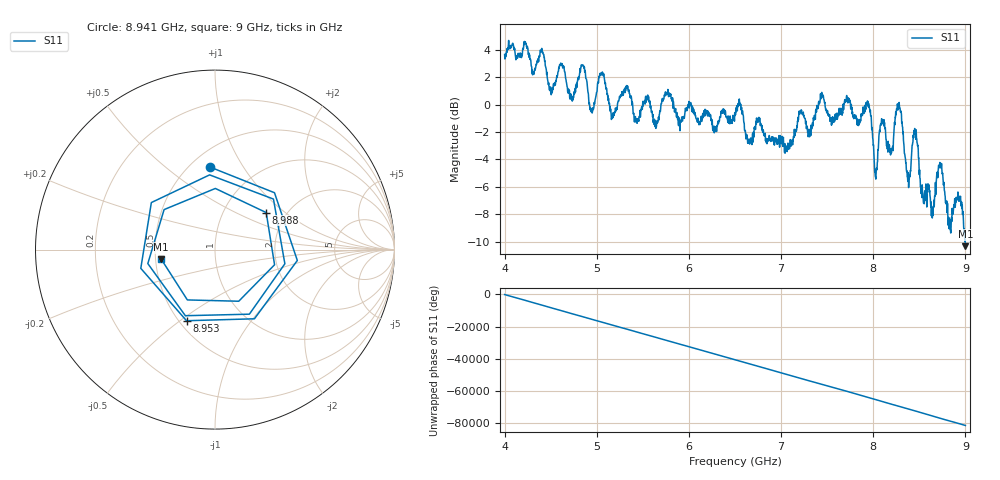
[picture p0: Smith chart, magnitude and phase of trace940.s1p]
! Created with skrf 1.8.0 (http://scikit-rf.org).
# Hz S RI R 50.0
!freq ReS11 ImS11
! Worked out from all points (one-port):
!   1601 points, 4 GHz to 9 GHz, reference 50 ohm
!   lowest |S11| = -10.3 dB at 9 GHz (marker M1), VSWR 1.87, Z = 26.8 - j3.15 ohm
!   |S11| at or under -10 dB: 8.997694 GHz to end of sweep
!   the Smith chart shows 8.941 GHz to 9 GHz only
!   S11 on the Smith chart (normalised r, x): 8.941 GHz: 0.62, +0.73; 8.953 GHz: 0.55, -0.53; 8.988 GHz: 1.58, +0.75; 9 GHz: 0.54, -0.06
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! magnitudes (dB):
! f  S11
! 4 GHz  3.6
! 4.5 GHz  1.3
! 4.625 GHz  2.9
! 4.731 GHz  0.5
! 4.853 GHz  2.8
! 4.944 GHz  -0.5
! 5.05 GHz  2.3
! 5.166 GHz  -0.8
! 5.25 GHz  0.5
! 5.875 GHz  -1.0
! 6.5 GHz  -0.8
! 7.125 GHz  -2.9
! 7.75 GHz  0.3
! 7.947 GHz  -0.2
! 8.031 GHz  -5.0
! 8.091 GHz  -1.0
! 8.191 GHz  -3.3
! 8.281 GHz  0.1
! 8.375 GHz  -5.6
! 8.453 GHz  -2.0
! 8.544 GHz  -7.1
! 8.647 GHz  -8.1
! 8.728 GHz  -4.4
! 8.828 GHz  -8.4
! 8.941 GHz  -6.7
! 8.953 GHz  -7.4
! 8.988 GHz  -9.1
! 9 GHz  -10.3
